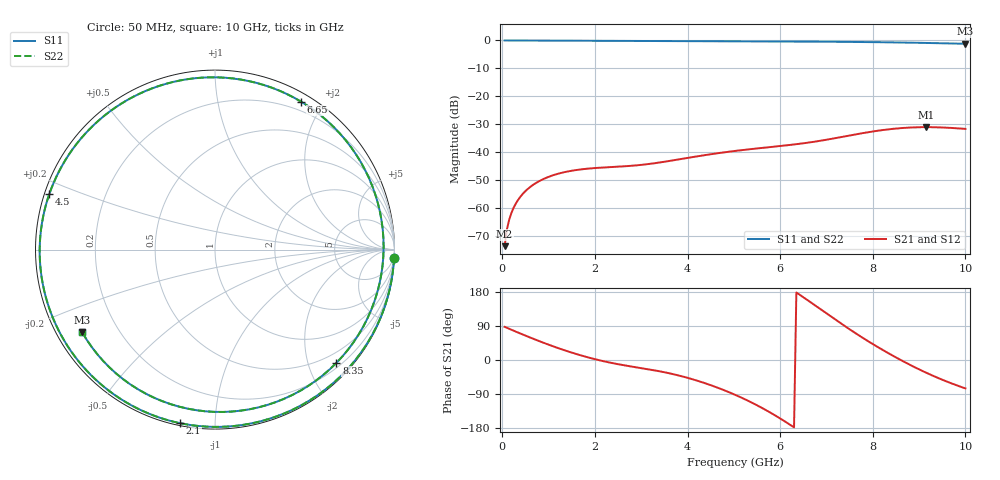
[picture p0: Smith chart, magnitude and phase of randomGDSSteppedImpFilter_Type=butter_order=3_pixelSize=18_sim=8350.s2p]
! freq	dB(S11)	phase(S11)	dB(S12)	phase(S12)
!  dB(S21)	phase(S21)	dB(S22)	phase(S22)
!S-par simulation data
#  GHz  S  DB  R 50
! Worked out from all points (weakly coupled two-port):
!   200 points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, 50 MHz to 10 GHz, reference 50 ohm
!   highest |S21| = -30.97 dB at 9.15 GHz (marker M1); lowest = -73.5 dB at 50 MHz (marker M2)
!   lowest |S11| = -1.2 dB at 10 GHz (marker M3), VSWR 14.58, Z = 3.71 - j14.2 ohm
!   |S11| at or under -10 dB: nowhere
!   |S22| runs from -1.2 to 0.0 dB; largest |S21 - S12| = 0
!   S11 on the Smith chart (normalised r, x): 50 MHz: 1, -44; 2.1 GHz: 0.01, -0.82; 4.5 GHz: 0.01, +0.16; 6.65 GHz: 0.10, +1.74; 8.35 GHz: 0.29, -2.51; 10 GHz: 0.07, -0.28
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0.05  -0.01 -2.6  -73.47 87.6  -73.47 87.6  -0.01 -2.6
0.1  -0.01 -5.2  -67.45 84.9  -67.45 84.9  -0.01 -5.2
0.2  -0.02 -10.4  -61.47 79.6  -61.47 79.6  -0.02 -10.4
0.5  -0.03 -25.7  -53.80 64.3  -53.80 64.3  -0.03 -25.7
1.15  -0.07 -57.9  -47.86 33.8  -47.86 33.8  -0.07 -58.0
1.75  -0.10 -85.9  -45.95 10.3  -45.95 10.3  -0.10 -85.9
2.1  -0.12 -101.3  -45.45 -0.8  -45.45 -0.8  -0.12 -101.3
2.7  -0.14 -126.5  -44.87 -15.4  -44.87 -15.4  -0.14 -126.5
3.4  -0.17 -154.6  -43.58 -29.9  -43.58 -29.9  -0.17 -154.6
4.5  -0.23 161.5  -40.64 -66.4  -40.64 -66.4  -0.23 161.5
5.05  -0.27 138.4  -39.41 -93.1  -39.41 -93.1  -0.27 138.4
5.9  -0.34 99.1  -37.88 -146.8  -37.88 -146.8  -0.34 99.1
6.65  -0.41 59.7  -36.39 153.0  -36.39 153.0  -0.41 59.7
6.7  -0.42 56.9  -36.27 148.7  -36.27 148.7  -0.42 56.9
7.15  -0.47 31.0  -35.02 110.1  -35.02 110.1  -0.47 31.0
7.55  -0.53 6.8  -33.79 76.9  -33.79 76.9  -0.53 6.8
7.95  -0.59 -18.0  -32.64 45.8  -32.64 45.8  -0.59 -18.0
8.35  -0.68 -43.0  -31.72 17.0  -31.72 17.0  -0.68 -43.1
8.75  -0.77 -68.2  -31.15 -9.4  -31.15 -9.4  -0.77 -68.2
9.15  -0.89 -93.4  -30.97 -33.4  -30.97 -33.4  -0.89 -93.4
9.55  -1.02 -118.8  -31.12 -54.5  -31.12 -54.5  -1.02 -118.8
10  -1.19 -148.1  -31.59 -75.0  -31.59 -75.0  -1.19 -148.1
